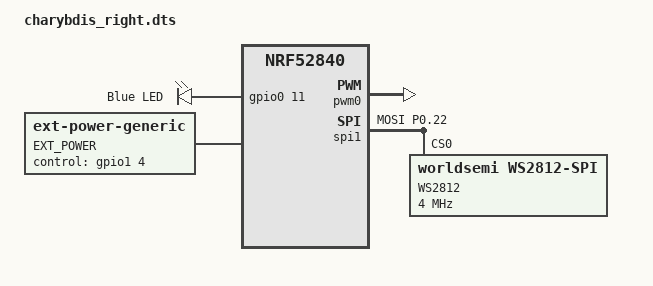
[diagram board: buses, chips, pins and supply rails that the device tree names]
/*
 * Copyright (c) 2021 The ZMK Contributors
 *
 * SPDX-License-Identifier: MIT
 */

/dts-v1/;
#include <nordic/nrf52840_qiaa.dtsi>
#include <dt-bindings/led/led.h>
#include "charybdis.dtsi"
#include "charybdis_pmw3610.dtsi"
#include "split_input_common.dtsi"

&pwm0 {
    status = "okay";
    pinctrl-0 = <&pwm0_default>;
    pinctrl-names = "default";
};

&pinctrl {
    pwm0_default: pwm0_default {
      group1 {
        psels = <14>; // Replace with the correct numeric pin value for your hardware
      };
    };

    spi3_default: spi1_default {
        group1 {
            psels = <NRF_PSEL(SPIM_MOSI, 0, 22)>;
        };
    };

    spi3_sleep: spi1_sleep {
        group1 {
            psels = <NRF_PSEL(SPIM_MOSI, 0, 22)>;
            low-power-enable;
        };
    };
};

&spi1 {
  compatible = "nordic,nrf-spim";
  status = "okay";
  pinctrl-0 = <&spi3_default>;
  pinctrl-1 = <&spi3_sleep>;
  pinctrl-names = "default", "sleep";

  led_strip: ws2812@0 {
    compatible = "worldsemi,ws2812-spi";
    label = "WS2812";

    /* SPI */
    reg = <0>; /* ignored, but necessary for SPI bindings */
    spi-max-frequency = <4000000>;

    /* WS2812 */
    chain-length = <27>; /* number of LEDs */
    spi-one-frame = <0x70>;
    spi-zero-frame = <0x40>;
    color-mapping = <LED_COLOR_ID_GREEN
                          LED_COLOR_ID_RED
                          LED_COLOR_ID_BLUE>;
  };
};

/ {
  leds: leds {
    compatible = "gpio-leds";
    blue_led: led_0 {
      gpios = <&gpio0 11 GPIO_ACTIVE_HIGH>;
      label = "Blue LED";
    };
  };

  ext-power {
    compatible = "zmk,ext-power-generic";
    label = "EXT_POWER";
    control-gpios = <&gpio1 4 GPIO_ACTIVE_HIGH>;
    init-delay-ms = <50>;
  };
};

&default_transform {
	col-offset = <6>;
};

&kscan0 {
    compatible = "zmk,kscan-gpio-matrix";

    col-gpios
        = <&gpio1 4   (GPIO_ACTIVE_HIGH | GPIO_PULL_DOWN)>
        , <&gpio1 2   (GPIO_ACTIVE_HIGH | GPIO_PULL_DOWN)>
        , <&gpio1 3   (GPIO_ACTIVE_HIGH | GPIO_PULL_DOWN)>
        , <&gpio0 3   (GPIO_ACTIVE_HIGH | GPIO_PULL_DOWN)>
        , <&gpio1 15  (GPIO_ACTIVE_HIGH | GPIO_PULL_DOWN)>
        , <&gpio1 13  (GPIO_ACTIVE_HIGH | GPIO_PULL_DOWN)>
    ;
    row-gpios
        = <&gpio1 1   GPIO_ACTIVE_HIGH>
        , <&gpio1 6   GPIO_ACTIVE_HIGH>
        , <&gpio0 10  GPIO_ACTIVE_HIGH>
        , <&gpio0 9   GPIO_ACTIVE_HIGH>
        , <&gpio1 10  GPIO_ACTIVE_HIGH>
    ;
};

&trackball_split {
    device = <&trackball>;
};
